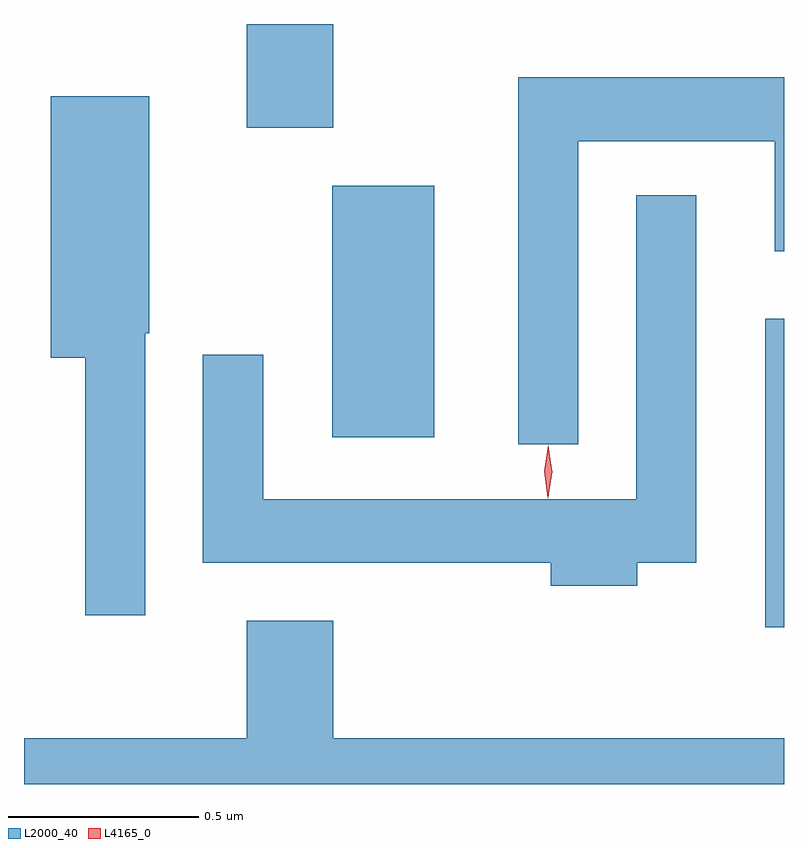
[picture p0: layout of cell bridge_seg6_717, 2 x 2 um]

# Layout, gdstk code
import gdstk
lib = gdstk.Library(unit=1e-6, precision=1e-09)
def R(c, l, rs):  # rectangles x0, y0, x1, y1
    for r in rs: c.add(gdstk.rectangle(r[:2], r[2:], *l))
def P(c, l, *ps):  # polygons
    for p in ps: c.add(gdstk.Polygon(p, *l))
L2000_40 = (2000, 40)
L4165_0 = (4165, 0)

bridge_seg6_717 = lib.new_cell('bridge_seg6_717')
R(bridge_seg6_717, L2000_40, [(399.556,1548.376,399.605,1549.189), (398.416,1548.876,398.684,1549.539), (398.191,1549.691,398.419,1549.964)])
P(bridge_seg6_717, L2000_40, [(399.064,1549.656),(399.581,1549.656),(399.581,1549.366),(399.605,1549.366),(399.605,1549.824),(398.906,1549.824),(398.906,1548.858),(399.064,1548.858)],
  [(397.924,1549.15),(397.934,1549.15),(397.934,1549.774),(397.676,1549.774),(397.676,1549.086),(397.766,1549.086),(397.766,1548.408),(397.924,1548.408)],
  [(399.219,1548.546),(399.374,1548.546),(399.374,1549.513),(399.216,1549.513),(399.216,1548.714),(398.234,1548.714),(398.234,1549.093),(398.076,1549.093),(398.076,1548.546),(398.991,1548.546),(398.991,1548.486),(399.219,1548.486)],
  [(399.605,1548.084),(398.419,1548.084),(398.419,1548.394),(398.191,1548.394),(398.191,1548.084),(397.605,1548.084),(397.605,1547.964),(399.605,1547.964)])
P(bridge_seg6_717, L4165_0, [(398.985,1548.719),(398.984,1548.72),(398.975,1548.786),(398.984,1548.852),(398.985,1548.853),(398.985,1548.852),(398.995,1548.786),(398.985,1548.72)],
  [(398.983,1548.717),(398.974,1548.787),(398.984,1548.856),(398.985,1548.856),(398.985,1548.856),(398.994,1548.786),(398.984,1548.717),(398.984,1548.717)])

lib.write_gds('bridge_seg6_717.gds')
